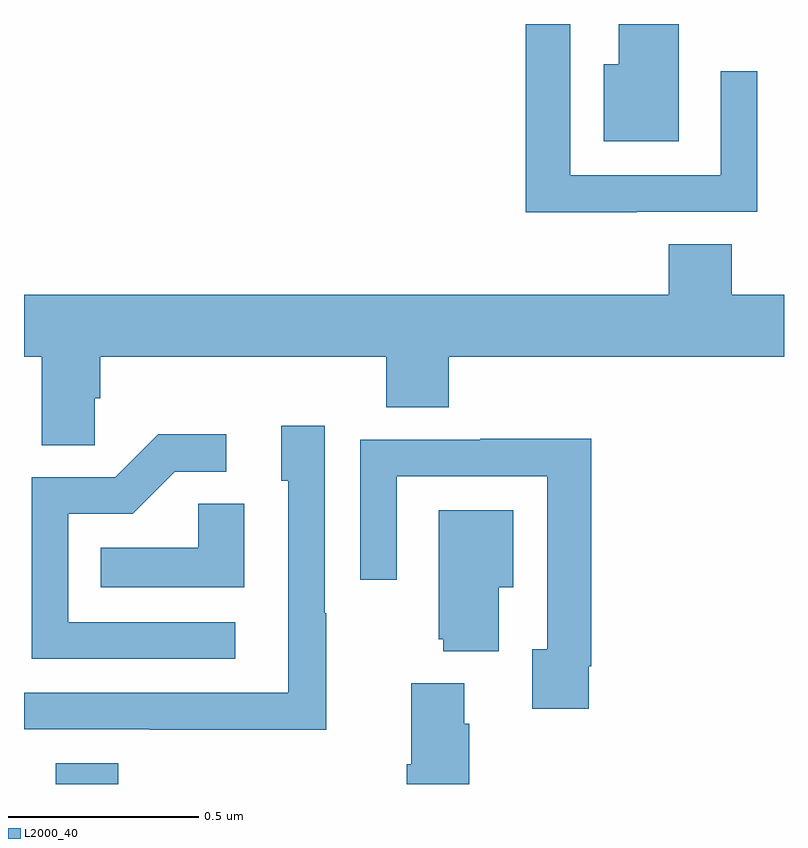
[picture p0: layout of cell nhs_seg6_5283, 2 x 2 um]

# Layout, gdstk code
import gdstk
lib = gdstk.Library(unit=1e-6, precision=1e-09)
def R(c, l, rs):  # rectangles x0, y0, x1, y1
    for r in rs: c.add(gdstk.rectangle(r[:2], r[2:], *l))
def P(c, l, *ps):  # polygons
    for p in ps: c.add(gdstk.Polygon(p, *l))
L2000_40 = (2000, 40)

nhs_seg6_5283 = lib.new_cell('nhs_seg6_5283')
R(nhs_seg6_5283, L2000_40, [(180.083,991.5,180.248,991.555)])
P(nhs_seg6_5283, L2000_40, [(181.723,993.5),(181.565,993.5),(181.565,993.394),(181.526,993.394),(181.526,993.191),(181.723,993.191)],
  [(181.613,993.006),(181.929,993.006),(181.929,993.376),(181.833,993.376),(181.833,993.102),(181.437,993.102),(181.437,993.5),(181.321,993.5),(181.321,993.005),(181.613,993.005)],
  [(180.186,992.515),(180.2,992.515),(180.2,992.624),(180.953,992.624),(180.953,992.491),(181.118,992.491),(181.118,992.624),(182,992.624),(182,992.788),(181.862,992.788),(181.862,992.921),(181.697,992.921),(181.697,992.788),(180,992.788),(180,992.624),(180.047,992.624),(180.047,992.392),(180.186,992.392)],
  [(180.795,991.949),(180.792,991.949),(180.792,992.443),(180.677,992.443),(180.677,992.298),(180.696,992.298),(180.696,991.74),(180,991.74),(180,991.644),(180.331,991.644),(180.331,991.643),(180.795,991.643)],
  [(180.556,991.926),(180.117,991.926),(180.117,992.211),(180.286,992.211),(180.397,992.322),(180.532,992.322),(180.532,992.42),(180.353,992.42),(180.24,992.307),(180.021,992.307),(180.021,991.83),(180.556,991.83)],
  [(181.486,991.81),(181.493,991.81),(181.493,992.408),(181.201,992.408),(181.201,992.406),(180.885,992.406),(180.885,992.037),(180.981,992.037),(180.981,992.31),(181.377,992.31),(181.377,991.854),(181.337,991.854),(181.337,991.698),(181.486,991.698)],
  [(180.58,992.237),(180.459,992.237),(180.459,992.122),(180.202,992.122),(180.202,992.018),(180.58,992.018)],
  [(181.249,992.018),(181.288,992.018),(181.288,992.221),(181.091,992.221),(181.091,991.881),(181.103,991.881),(181.103,991.85),(181.249,991.85)],
  [(181.172,991.658),(181.159,991.658),(181.159,991.765),(181.019,991.765),(181.019,991.552),(181.007,991.552),(181.007,991.5),(181.172,991.5)])

lib.write_gds('nhs_seg6_5283.gds')
